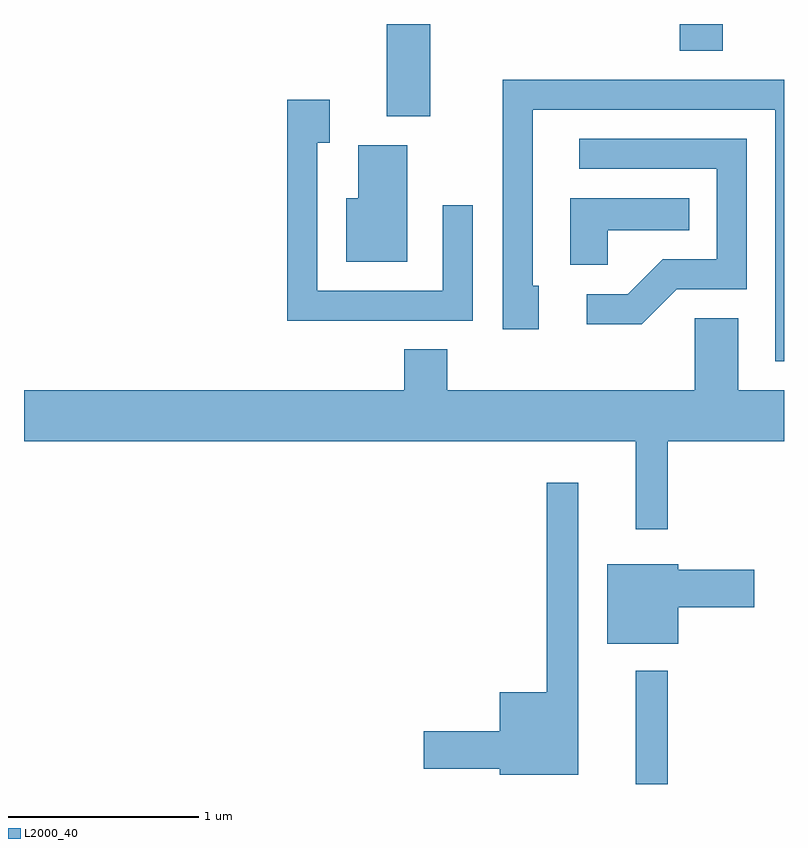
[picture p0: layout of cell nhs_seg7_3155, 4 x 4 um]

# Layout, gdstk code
import gdstk
lib = gdstk.Library(unit=1e-6, precision=1e-09)
def R(c, l, rs):  # rectangles x0, y0, x1, y1
    for r in rs: c.add(gdstk.rectangle(r[:2], r[2:], *l))
def P(c, l, *ps):  # polygons
    for p in ps: c.add(gdstk.Polygon(p, *l))
L2000_40 = (2000, 40)

nhs_seg7_3155 = lib.new_cell('nhs_seg7_3155')
R(nhs_seg7_3155, L2000_40, [(284.831,1750.252,284.999,1750.848), (283.521,1753.766,283.749,1754.252), (285.061,1754.111,285.289,1754.252)])
P(nhs_seg7_3155, L2000_40, [(285.611,1753.959),(284.131,1753.959),(284.131,1752.646),(284.319,1752.646),(284.319,1752.874),(284.289,1752.874),(284.289,1753.801),(285.566,1753.801),(285.566,1752.476),(285.611,1752.476)],
  [(283.974,1753.298),(283.816,1753.298),(283.816,1752.849),(283.154,1752.849),(283.154,1753.626),(283.219,1753.626),(283.219,1753.854),(282.996,1753.854),(282.996,1752.691),(283.974,1752.691)],
  [(285.047,1752.856),(285.414,1752.856),(285.414,1753.649),(284.533,1753.649),(284.533,1753.491),(285.256,1753.491),(285.256,1753.014),(284.974,1753.014),(284.789,1752.829),(284.573,1752.829),(284.573,1752.671),(284.862,1752.671)],
  [(283.629,1753.614),(283.371,1753.614),(283.371,1753.334),(283.306,1753.334),(283.306,1753.001),(283.629,1753.001)],
  [(284.684,1753.166),(285.113,1753.166),(285.113,1753.334),(284.486,1753.334),(284.486,1752.986),(284.684,1752.986)],
  [(284.999,1752.056),(285.611,1752.056),(285.611,1752.324),(285.369,1752.324),(285.369,1752.704),(285.141,1752.704),(285.141,1752.324),(283.839,1752.324),(283.839,1752.539),(283.611,1752.539),(283.611,1752.324),(281.611,1752.324),(281.611,1752.056),(284.831,1752.056),(284.831,1751.593),(284.999,1751.593)],
  [(284.529,1751.838),(284.361,1751.838),(284.361,1750.734),(284.116,1750.734),(284.116,1750.529),(283.716,1750.529),(283.716,1750.331),(284.116,1750.331),(284.116,1750.301),(284.529,1750.301)],
  [(285.054,1751.181),(285.454,1751.181),(285.454,1751.379),(285.054,1751.379),(285.054,1751.409),(284.681,1751.409),(284.681,1750.991),(285.054,1750.991)])

lib.write_gds('nhs_seg7_3155.gds')
